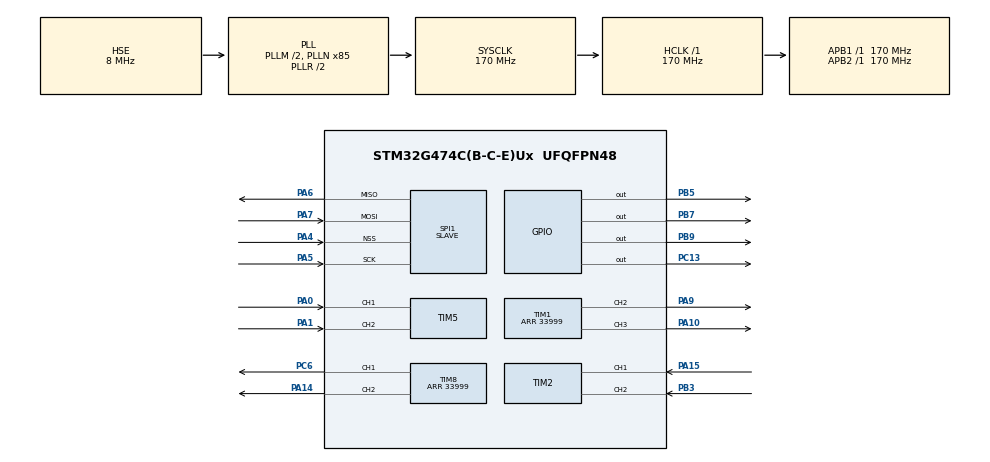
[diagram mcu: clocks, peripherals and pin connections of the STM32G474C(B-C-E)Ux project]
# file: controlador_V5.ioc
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FREERTOS.INCLUDE_vTaskDelayUntil=1
FREERTOS.Tasks01=vControlTask,2,1025,vControlTask_Handler,Default,NULL,Dynamic,NULL,NULL;vTaskLed,0,512,vTaskLed_Handler,Default,NULL,Dynamic,NULL,NULL
FREERTOS.configTOTAL_HEAP_SIZE=8192
FREERTOS.configUSE_NEWLIB_REENTRANT=1
Mcu.Family=STM32G4
Mcu.Name=STM32G474C(B-C-E)Ux
Mcu.Package=UFQFPN48
NVIC.PriorityGroup=NVIC_PRIORITYGROUP_4
NVIC.SPI1_IRQn=true\:5\:0\:false\:false\:true\:true\:true\:true\:true
NVIC.TIM6_DAC_IRQn=true\:15\:0\:false\:false\:true\:false\:false\:true\:true
NVIC.TimeBase=TIM6_DAC_IRQn
NVIC.TimeBaseIP=TIM6
PA0.Signal=S_TIM5_CH1
PA1.Signal=S_TIM5_CH2
PA10.Signal=S_TIM1_CH3
PA14.Signal=S_TIM8_CH2
PA15.Signal=S_TIM2_CH1
PA4.Mode=NSS_Signal_Hard_Input
PA4.Signal=SPI1_NSS
PA5.Mode=Full_Duplex_Slave
PA5.Signal=SPI1_SCK
PA6.Mode=Full_Duplex_Slave
PA6.Signal=SPI1_MISO
PA7.Mode=Full_Duplex_Slave
PA7.Signal=SPI1_MOSI
PA9.Signal=S_TIM1_CH2
PB3.Signal=S_TIM2_CH2
PB5.Signal=GPIO_Output
PB7.Signal=GPIO_Output
PB9.Signal=GPIO_Output
PC13.Signal=GPIO_Output
PC14-OSC32_IN.Mode=LSE-External-Oscillator
PC14-OSC32_IN.Signal=RCC_OSC32_IN
PC15-OSC32_OUT.Mode=LSE-External-Oscillator
PC15-OSC32_OUT.Signal=RCC_OSC32_OUT
PC6.Signal=S_TIM8_CH1
PF0-OSC_IN.Mode=HSE-External-Oscillator
PF0-OSC_IN.Signal=RCC_OSC_IN
PF1-OSC_OUT.Mode=HSE-External-Oscillator
PF1-OSC_OUT.Signal=RCC_OSC_OUT
ProjectManager.HeapSize=0x200
ProjectManager.StackSize=0x400
ProjectManager.TargetToolchain=STM32CubeIDE
RCC.ADC12Freq_Value=170000000
RCC.ADC345Freq_Value=170000000
RCC.AHBFreq_Value=170000000
RCC.APB1Freq_Value=170000000
RCC.APB1TimFreq_Value=170000000
RCC.APB2Freq_Value=170000000
RCC.APB2TimFreq_Value=170000000
RCC.CortexFreq_Value=170000000
RCC.EXTERNAL_CLOCK_VALUE=12288000
RCC.HCLKFreq_Value=170000000
RCC.HSE_VALUE=8000000
RCC.HSI48_VALUE=48000000
RCC.HSI_VALUE=16000000
RCC.PLLM=RCC_PLLM_DIV2
RCC.PLLN=85
RCC.PLLSourceVirtual=RCC_PLLSOURCE_HSE
RCC.SYSCLKFreq_VALUE=170000000
RCC.SYSCLKSource=RCC_SYSCLKSOURCE_PLLCLK
RCC.USBFreq_Value=170000000
RCC.VCOOutputFreq_Value=340000000
SH.S_TIM1_CH2.0=TIM1_CH2,PWM Generation2 CH2
SH.S_TIM1_CH3.0=TIM1_CH3,PWM Generation3 CH3
SH.S_TIM2_CH1.0=TIM2_CH1,Encoder_Interface
SH.S_TIM2_CH2.0=TIM2_CH2,Encoder_Interface
SH.S_TIM5_CH1.0=TIM5_CH1,Encoder_Interface
SH.S_TIM5_CH2.0=TIM5_CH2,Encoder_Interface
SH.S_TIM8_CH1.0=TIM8_CH1,PWM Generation1 CH1
SH.S_TIM8_CH2.0=TIM8_CH2,PWM Generation2 CH2
SPI1.DataSize=SPI_DATASIZE_8BIT
SPI1.Direction=SPI_DIRECTION_2LINES
SPI1.Mode=SPI_MODE_SLAVE
SPI1.VirtualNSS=VM_NSSHARD
SPI1.VirtualType=VM_SLAVE
TIM1.AutoReloadPreload=TIM_AUTORELOAD_PRELOAD_ENABLE
TIM1.Channel-PWM\ Generation2\ CH2=TIM_CHANNEL_2
TIM1.Channel-PWM\ Generation3\ CH3=TIM_CHANNEL_3
TIM1.PeriodNoDither=33999
TIM2.EncoderMode=TIM_ENCODERMODE_TI12
TIM2.IC1Filter=0
TIM2.IC2Filter=0
TIM4.Prescaler=1699
TIM5.EncoderMode=TIM_ENCODERMODE_TI12
TIM5.IC1Filter=0
TIM5.IC2Filter=0
TIM8.AutoReloadPreload=TIM_AUTORELOAD_PRELOAD_ENABLE
TIM8.Channel-PWM\ Generation1\ CH1=TIM_CHANNEL_1
TIM8.Channel-PWM\ Generation2\ CH2=TIM_CHANNEL_2
TIM8.PeriodNoDither=33999
VP_FREERTOS_VS_CMSIS_V1.Mode=CMSIS_V1
VP_SYS_VS_DBSignals.Mode=DisableDeadBatterySignals
VP_SYS_VS_tim6.Mode=TIM6
VP_TIM1_VS_ClockSourceINT.Mode=Internal
VP_TIM4_VS_ClockSourceINT.Mode=Internal
VP_TIM8_VS_ClockSourceINT.Mode=Internal
board=custom

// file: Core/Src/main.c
/* USER CODE BEGIN Header */
/**
  ******************************************************************************
  * @file           : main.c
  * @brief          : Main program body
  ******************************************************************************
  * @attention
  *
  * Copyright (c) 2025 STMicroelectronics.
  * All rights reserved.
  *
  * This software is licensed under terms that can be found in the LICENSE file
  * in the root directory of this software component.
  * If no LICENSE file comes with this software, it is provided AS-IS.
  *
  ******************************************************************************
  */
/* USER CODE END Header */
#include "main.h"
#include "cmsis_os.h"

/* USER CODE BEGIN Includes */
#include <string.h>
#include <math.h>

/* USER CODE END Includes */

/* USER CODE BEGIN PD */
#define r 0.035f
#define L 0.2711f
#define h 0.1f
#define pi 3.1415926f
#define N 18
/* USER CODE END PD */

SPI_HandleTypeDef hspi1;

TIM_HandleTypeDef htim1;
TIM_HandleTypeDef htim2;
TIM_HandleTypeDef htim4;
TIM_HandleTypeDef htim5;
TIM_HandleTypeDef htim8;

osThreadId vControlTaskHandle;
osThreadId vTaskLedHandle;
/* USER CODE BEGIN PV */

// --- FreeRTOS Timing ---
// Period for the main control loop task (2 milliseconds)
const TickType_t periodo = pdMS_TO_TICKS(2); // Convert ms to FreeRTOS ticks

// --- Filter Buffers (Potentially unused if using IIR filter now) ---
float buffer[N+1] = {0};  // Circular buffer for FIR filter input (motor 1?)
float buffer2[N+1] = {0}; // Circular buffer for FIR filter input (motor 2?)

// --- Robot State Variables (Odometry) ---
// These are updated by vControlTask and read by the SPI ISR
float x = 0;   // Robot X position (meters) in global frame
float y = 0;   // Robot Y position (meters) in global frame
float th = 0; // Robot orientation (theta) (radians) in global frame
float xp = 0;  // Robot linear velocity along its own X-axis (m/s)
float yp = 0;  // Robot linear velocity along its own Y-axis (m/s) - Note: often v_x, v_y used

// --- SPI Communication Variables ---
float maxspeed = 0.5f; // Maximum speed/duty cycle limit received from host
float ux = 0; // Desired X velocity command from host (global frame)
float uy = 0; // Desired Y velocity command from host (global frame)
uint8_t tx_data[25]; // SPI transmit buffer (STM32 -> Host: odometry)
uint8_t rx_data[15]; // SPI receive buffer (Host -> STM32: commands)

// --- Motor Control Variables ---
float w1d = 0; // Desired angular velocity for wheel 1 (left?) (rad/s)
float w2d = 0; // Desired angular velocity for wheel 2 (right?) (rad/s)
float u1 = 0;  // Control output (duty cycle / voltage) for motor 1
float u2 = 0;  // Control output (duty cycle / voltage) for motor 2
float iew1 = 0; // Integral error accumulator for PI controller (motor 1)
float iew2 = 0; // Integral error accumulator for PI controller (motor 2)

// --- Intermediate Kinematics/State Variables ---
float th1 = 0; // Current angle of wheel 1 (radians)
float th2 = 0; // Current angle of wheel 2 (radians)
float tha1 = 0; // Previous angle of wheel 1 (radians)
float tha2 = 0; // Previous angle of wheel 2 (radians)
float w1 = 0;  // Calculated raw angular velocity of wheel 1 (rad/s)
float w2 = 0;  // Calculated raw angular velocity of wheel 2 (rad/s)
float w1_fc = 0; // Filtered angular velocity of wheel 1 (rad/s) used for control
float w2_fc = 0; // Filtered angular velocity of wheel 2 (rad/s) used for control
float w1_fca = 0; // Previous filtered velocity for wheel 1 (IIR filter state)
float w2_fca = 0; // Previous filtered velocity for wheel 2 (IIR filter state)
float alpha = 0.1f; // Smoothing factor for the IIR velocity filter (0 < alpha <= 1)
float v = 0;   // Robot linear velocity (m/s)
float w = 0;   // Robot angular velocity (rad/s)
float vd = 0;  // Desired robot linear velocity (m/s) calculated from ux, uy
float wd = 0;  // Desired robot angular velocity (rad/s) calculated from ux, uy

// --- Constants & Control Parameters ---
float Ts = 0.002; // Control loop sample time (seconds) - MUST MATCH 'periodo'!

// --- LED Control Variables ---
float ze = 0.2;  // Threshold for LED state (zero-ish speed)
float ze2 = 0.6; // Threshold for LED state (turning indication?)
uint8_t dato = 0; // Data byte encoding the LED state to send to ESP32

// --- Encoder Raw Data ---
float ae1 = 0; // Wheel 1 angle intermediate (float)
float ae2 = 0; // Wheel 2 angle intermediate (float)
uint32_t e1 = 0; // Raw encoder count for wheel 1 (from TIM2)
uint32_t e2 = 0; // Raw encoder count for wheel 2 (from TIM5)
/* USER CODE END PV */

void SystemClock_Config(void);
static void MX_GPIO_Init(void);
static void MX_SPI1_Init(void);
static void MX_TIM2_Init(void);
static void MX_TIM5_Init(void);
static void MX_TIM4_Init(void);
static void MX_TIM1_Init(void);
static void MX_TIM8_Init(void);
void vControlTask_Handler(void const * argument);
void vTaskLed_Handler(void const * argument);

/* USER CODE BEGIN 0 */

/**
 * @brief Calculates a simple 8-bit checksum (sum of first 4 bytes).
 * @param data Pointer to the start of the 4 data bytes.
 * @retval uint8_t The calculated checksum.
 */
uint8_t add_checksum(uint8_t *data) {
    uint8_t sum = 0;
    // Sum the first 4 bytes
    for (int i = 0; i < 4; i++) {
        sum += data[i];
    }
    // Return the lower 8 bits of the sum
    return sum; // Implicit modulo 256
}

/**
 * @brief SPI1 Transmit/Receive Complete Callback (ISR context).
 * Handles communication with the host computer (e.g., Raspberry Pi).
 * Receives velocity commands (ux, uy, maxspeed) and prepares odometry
 * data (x, y, th, xp, yp) for the next transmission.
 * @param hspi SPI handle.
 */
void HAL_SPI_TxRxCpltCallback(SPI_HandleTypeDef *hspi){
    // This function runs in an Interrupt Service Routine (ISR) context!

    // --- Receive and Process Data from Host ---
    // Verify checksums for the three received float values
    if ((rx_data[4]  == add_checksum(&rx_data[0]))  && // Checksum for ux
        (rx_data[9]  == add_checksum(&rx_data[5]))  && // Checksum for uy
        (rx_data[14] == add_checksum(&rx_data[10]))) { // Checksum for maxspeed

        // Checksums match, copy data into global volatile variables
        // Use memcpy for potentially non-aligned access or type punning safety
        memcpy((void*)&ux,       &rx_data[0],  4); // Copy received ux command
        memcpy((void*)&uy,       &rx_data[5],  4); // Copy received uy command
        memcpy((void*)&maxspeed, &rx_data[10], 4); // Copy received maxspeed limit
    } else {
        // Checksum error detected
        // Set commands to zero as a safety measure
        ux = 0.0f;
        uy = 0.0f;
        // Optionally, set a flag or log the error
    }

    // --- Prepare Data for Next Transmission to Host ---
    // Need to read shared odometry variables (x, y, th, xp, yp) safely.
    UBaseType_t uxSavedInterruptStatus;
	// Enter critical section (ISR-safe version) to prevent race conditions with vControlTask
	uxSavedInterruptStatus = taskENTER_CRITICAL_FROM_ISR();

    // Prepare odometry data packet (5 floats + 5 checksums = 25 bytes)
    memcpy(&tx_data[0],  (void*)&x, 4); // Copy current x position
    tx_data[4]  = add_checksum(&tx_data[0]); // Calculate checksum for x

    memcpy(&tx_data[5],  (void*)&y, 4); // Copy current y position
    tx_data[9]  = add_checksum(&tx_data[5]); // Calculate checksum for y

    memcpy(&tx_data[10], (void*)&xp, 4); // Copy current x velocity (robot frame)
    tx_data[14] = add_checksum(&tx_data[10]); // Calculate checksum for xp

    memcpy(&tx_data[15], (void*)&yp, 4); // Copy current y velocity (robot frame)
    tx_data[19] = add_checksum(&tx_data[15]); // Calculate checksum for yp

    memcpy(&tx_data[20], (void*)&th, 4); // Copy current orientation (theta)
    tx_data[24] = add_checksum(&tx_data[20]); // Calculate checksum for theta

    // Exit critical section, restoring previous interrupt state
    taskEXIT_CRITICAL_FROM_ISR(uxSavedInterruptStatus);

    // --- Re-arm SPI Reception ---
    // Start the next non-blocking SPI transaction (Slave waits for Master)
    // Assumes the Host will initiate the next transfer.
    HAL_SPI_TransmitReceive_IT(&hspi1, tx_data, rx_data, 25);
}

/**
 * @brief Sets the PWM duty cycle for Motor 1 (Left?).
 * Handles direction based on the sign of fduty.
 * Clamps the duty cycle to [-maxspeed, maxspeed].
 * @param fduty Desired duty cycle (-1.0 to 1.0, scaled relative to maxspeed).
 */
void Mi1(float fduty) {
    // Clamp duty cycle based on the dynamic maxspeed received via SPI
	if(fduty >= maxspeed) { fduty = maxspeed; }
	if(fduty <= -maxspeed) { fduty = -maxspeed; }

    // Scale float duty cycle (-maxspeed to +maxspeed) to PWM timer period (0 to 32767?)
    // Assuming Period = 33999, so max duty is roughly half? Check timer config.
    // Let's assume 32767 corresponds to maxspeed.
    // This scaling might need adjustment based on timer Period value.
	fduty = fduty * (32767.0f / maxspeed); // Scale based on maxspeed? Recheck this logic. Usually scales to Period.
    // --> Alternative assuming 33999 is Period for 100% duty:
    // fduty = fduty * 33999.0f;

	int16_t duty = (int16_t)fduty; // Cast scaled duty to integer

    // Set PWM channels based on direction (sign of duty)
    if (duty >= 0) { // Forward direction
        __HAL_TIM_SET_COMPARE(&htim1, TIM_CHANNEL_2, duty); // PWM output on CH2
        __HAL_TIM_SET_COMPARE(&htim1, TIM_CHANNEL_3, 0);    // Direction pin (CH3) low/off
    } else { // Reverse direction
        __HAL_TIM_SET_COMPARE(&htim1, TIM_CHANNEL_2, 0);    // PWM output (CH2) off
        __HAL_TIM_SET_COMPARE(&htim1, TIM_CHANNEL_3, -duty); // Direction pin (CH3) uses PWM magnitude
    }
}

/**
 * @brief Sets the PWM duty cycle for Motor 2 (Right?).
 * Similar logic to Mi1.
 * @param fduty Desired duty cycle (-1.0 to 1.0, scaled relative to maxspeed).
 */
void Md2(float fduty) {
    // Clamp duty cycle
	if(fduty >= maxspeed) { fduty = maxspeed; }
	if(fduty <= -maxspeed) { fduty = -maxspeed; }

    // Scale float duty cycle to PWM timer range (assuming Period = 33999)
    // Check scaling logic as in Mi1.
	fduty = fduty * (32767.0f / maxspeed); // Recheck scaling
    // --> Alternative: fduty = fduty * 33999.0f;

	int16_t duty = (int16_t)fduty;

    // Set PWM channels based on direction
    if (duty >= 0) { // Forward
        __HAL_TIM_SET_COMPARE(&htim8, TIM_CHANNEL_1, duty); // PWM on CH1
        __HAL_TIM_SET_COMPARE(&htim8, TIM_CHANNEL_2, 0);    // Direction CH2 low
    } else { // Reverse
        __HAL_TIM_SET_COMPARE(&htim8, TIM_CHANNEL_1, 0);    // PWM CH1 off
        __HAL_TIM_SET_COMPARE(&htim8, TIM_CHANNEL_2, -duty); // Direction CH2 PWM
    }
}

/**
 * @brief Sends a 4-bit data value ('dato') to specific GPIO pins.
 * Used to signal robot state to the ESP32.
 */
void enviarDato() {
    // Extract individual bits from the global 'dato' byte
    uint8_t bit1 = (dato >> 0) & 1; // Bit 0 -> PB9
    uint8_t bit2 = (dato >> 1) & 1; // Bit 1 -> PB7
    uint8_t bit4 = (dato >> 2) & 1; // Bit 2 -> PB5 (Note: name implies bit 4?)
    uint8_t bit8 = (dato >> 3) & 1; // Bit 3 -> PC13 (Note: name implies bit 8?)

    // Write bit values to the corresponding GPIO pins
    HAL_GPIO_WritePin(GPIOB, GPIO_PIN_9, bit1 ? GPIO_PIN_SET : GPIO_PIN_RESET);
    HAL_GPIO_WritePin(GPIOB, GPIO_PIN_7, bit2 ? GPIO_PIN_SET : GPIO_PIN_RESET);
    HAL_GPIO_WritePin(GPIOB, GPIO_PIN_5, bit4 ? GPIO_PIN_SET : GPIO_PIN_RESET); // Check pin mapping
    HAL_GPIO_WritePin(GPIOC, GPIO_PIN_13, bit8 ? GPIO_PIN_SET : GPIO_PIN_RESET); // Check pin mapping
}

/**
 * @brief Determines the LED state ('dato') based on filtered wheel speeds.
 * Sets the global 'dato' variable which is then sent by enviarDato().
 * @param wi Filtered angular velocity of wheel 1 (left?).
 * @param wd Filtered angular velocity of wheel 2 (right?).
 */
void enviarleds(float wi, float wd){
  // Logic to determine the 4-bit state based on wheel speeds
  if (wi >= -ze && wi <= ze && wd >= -ze && wd <= ze) { // Both wheels stopped or very slow
    dato = 0; // State 0: Stopped
  }
  else if (!(wi >= -ze2 && wi <= ze2 && wd >= -ze2 && wd <= ze2) && (wd >= wi * 1.4f)) { // Turning significantly (Right wheel faster?)
    dato = 6; // State 6: Turning Right? (Check mapping)
  }
  else if (!(wi >= -ze2 && wi <= ze2 && wd >= -ze2 && wd <= ze2) && (wi >= wd * 1.4f)) { // Turning significantly (Left wheel faster?)
    dato = 7; // State 7: Turning Left? (Check mapping)
  }
  else if (wi >= ze && wd >= ze) { // Both moving forward
    dato = 3; // State 3: Moving Forward?
  }
  else if (wi <= -ze && wd <= -ze) { // Both moving backward
    dato = 5; // State 5: Moving Backward?
  }
  // Note: Add cases for pivot turns (wi > 0, wd < 0) etc. if needed

  // Send the determined state to the GPIO pins
  enviarDato();
}

/* USER CODE END 0 */

int main(void)
{

  /* MCU Configuration--------------------------------------------------------*/

  /* Reset of all peripherals, Initializes the Flash interface and the Systick. */
  HAL_Init();

  /* Configure the system clock */
  SystemClock_Config();

  /* Initialize all configured peripherals */
  MX_GPIO_Init();
  MX_SPI1_Init();
  MX_TIM2_Init();
  MX_TIM5_Init();
  MX_TIM4_Init();
  MX_TIM1_Init();
  MX_TIM8_Init();
  /* USER CODE BEGIN 2 */
  HAL_SPI_TransmitReceive_IT(&hspi1, tx_data, rx_data, 25);
  HAL_TIM_Encoder_Start(&htim2, TIM_CHANNEL_ALL);
  HAL_TIM_Encoder_Start(&htim5, TIM_CHANNEL_ALL);
  HAL_TIM_Base_Start(&htim4);
  HAL_TIM_PWM_Start(&htim1, TIM_CHANNEL_2);
  HAL_TIM_PWM_Start(&htim1, TIM_CHANNEL_3);
  HAL_TIM_PWM_Start(&htim8, TIM_CHANNEL_1);
  HAL_TIM_PWM_Start(&htim8, TIM_CHANNEL_2);

  //uint32_t t0_ticks = __HAL_TIM_GET_COUNTER(&htim4);

  /* USER CODE END 2 */

  /* Create the thread(s) */
  /* definition and creation of vControlTask */
  osThreadDef(vControlTask, vControlTask_Handler, osPriorityHigh, 0, 1025);
  vControlTaskHandle = osThreadCreate(osThread(vControlTask), NULL);

  /* definition and creation of vTaskLed */
  osThreadDef(vTaskLed, vTaskLed_Handler, osPriorityNormal, 0, 512);
  vTaskLedHandle = osThreadCreate(osThread(vTaskLed), NULL);

  /* Start scheduler */
  osKernelStart();

  /* We should never get here as control is now taken by the scheduler */

  /* Infinite loop */
  while (1)
  {

  }
}

void SystemClock_Config(void)
{
  RCC_OscInitTypeDef RCC_OscInitStruct = {0};
  RCC_ClkInitTypeDef RCC_ClkInitStruct = {0};

  /** Configure the main internal regulator output voltage
  */
  HAL_PWREx_ControlVoltageScaling(PWR_REGULATOR_VOLTAGE_SCALE1_BOOST);

  /** Initializes the RCC Oscillators according to the specified parameters
  * in the RCC_OscInitTypeDef structure.
  */
  RCC_OscInitStruct.OscillatorType = RCC_OSCILLATORTYPE_HSE;
  RCC_OscInitStruct.HSEState = RCC_HSE_ON;
  RCC_OscInitStruct.PLL.PLLState = RCC_PLL_ON;
  RCC_OscInitStruct.PLL.PLLSource = RCC_PLLSOURCE_HSE;
  RCC_OscInitStruct.PLL.PLLM = RCC_PLLM_DIV2;
  RCC_OscInitStruct.PLL.PLLN = 85;
  RCC_OscInitStruct.PLL.PLLP = RCC_PLLP_DIV2;
  RCC_OscInitStruct.PLL.PLLQ = RCC_PLLQ_DIV2;
  RCC_OscInitStruct.PLL.PLLR = RCC_PLLR_DIV2;
  if (HAL_RCC_OscConfig(&RCC_OscInitStruct) != HAL_OK)
  {
    Error_Handler();
  }

  /** Initializes the CPU, AHB and APB buses clocks
  */
  RCC_ClkInitStruct.ClockType = RCC_CLOCKTYPE_HCLK|RCC_CLOCKTYPE_SYSCLK
                              |RCC_CLOCKTYPE_PCLK1|RCC_CLOCKTYPE_PCLK2;
  RCC_ClkInitStruct.SYSCLKSource = RCC_SYSCLKSOURCE_PLLCLK;
  RCC_ClkInitStruct.AHBCLKDivider = RCC_SYSCLK_DIV1;
  RCC_ClkInitStruct.APB1CLKDivider = RCC_HCLK_DIV1;
  RCC_ClkInitStruct.APB2CLKDivider = RCC_HCLK_DIV1;

  if (HAL_RCC_ClockConfig(&RCC_ClkInitStruct, FLASH_LATENCY_4) != HAL_OK)
  {
    Error_Handler();
  }
}

static void MX_SPI1_Init(void)
{

  /* SPI1 parameter configuration*/
  hspi1.Instance = SPI1;
  hspi1.Init.Mode = SPI_MODE_SLAVE;
  hspi1.Init.Direction = SPI_DIRECTION_2LINES;
  hspi1.Init.DataSize = SPI_DATASIZE_8BIT;
  hspi1.Init.CLKPolarity = SPI_POLARITY_LOW;
  hspi1.Init.CLKPhase = SPI_PHASE_1EDGE;
  hspi1.Init.NSS = SPI_NSS_HARD_INPUT;
  hspi1.Init.FirstBit = SPI_FIRSTBIT_MSB;
  hspi1.Init.TIMode = SPI_TIMODE_DISABLE;
  hspi1.Init.CRCCalculation = SPI_CRCCALCULATION_DISABLE;
  hspi1.Init.CRCPolynomial = 7;
  hspi1.Init.CRCLength = SPI_CRC_LENGTH_DATASIZE;
  hspi1.Init.NSSPMode = SPI_NSS_PULSE_DISABLE;
  if (HAL_SPI_Init(&hspi1) != HAL_OK)
  {
    Error_Handler();
  }

}

static void MX_TIM1_Init(void)
{

  TIM_ClockConfigTypeDef sClockSourceConfig = {0};
  TIM_MasterConfigTypeDef sMasterConfig = {0};
  TIM_OC_InitTypeDef sConfigOC = {0};
  TIM_BreakDeadTimeConfigTypeDef sBreakDeadTimeConfig = {0};

  htim1.Instance = TIM1;
  htim1.Init.Prescaler = 0;
  htim1.Init.CounterMode = TIM_COUNTERMODE_UP;
  htim1.Init.Period = 33999;
  htim1.Init.ClockDivision = TIM_CLOCKDIVISION_DIV1;
  htim1.Init.RepetitionCounter = 0;
  htim1.Init.AutoReloadPreload = TIM_AUTORELOAD_PRELOAD_ENABLE;
  if (HAL_TIM_Base_Init(&htim1) != HAL_OK)
  {
    Error_Handler();
  }
  sClockSourceConfig.ClockSource = TIM_CLOCKSOURCE_INTERNAL;
  if (HAL_TIM_ConfigClockSource(&htim1, &sClockSourceConfig) != HAL_OK)
  {
    Error_Handler();
  }
  if (HAL_TIM_PWM_Init(&htim1) != HAL_OK)
  {
    Error_Handler();
  }
  sMasterConfig.MasterOutputTrigger = TIM_TRGO_RESET;
  sMasterConfig.MasterOutputTrigger2 = TIM_TRGO2_RESET;
  sMasterConfig.MasterSlaveMode = TIM_MASTERSLAVEMODE_DISABLE;
  if (HAL_TIMEx_MasterConfigSynchronization(&htim1, &sMasterConfig) != HAL_OK)
  {
    Error_Handler();
  }
  sConfigOC.OCMode = TIM_OCMODE_PWM1;
  sConfigOC.Pulse = 0;
  sConfigOC.OCPolarity = TIM_OCPOLARITY_HIGH;
  sConfigOC.OCNPolarity = TIM_OCNPOLARITY_HIGH;
  sConfigOC.OCFastMode = TIM_OCFAST_DISABLE;
  sConfigOC.OCIdleState = TIM_OCIDLESTATE_RESET;
  sConfigOC.OCNIdleState = TIM_OCNIDLESTATE_RESET;
  if (HAL_TIM_PWM_ConfigChannel(&htim1, &sConfigOC, TIM_CHANNEL_2) != HAL_OK)
  {
    Error_Handler();
  }
  if (HAL_TIM_PWM_ConfigChannel(&htim1, &sConfigOC, TIM_CHANNEL_3) != HAL_OK)
  {
    Error_Handler();
  }
  sBreakDeadTimeConfig.OffStateRunMode = TIM_OSSR_DISABLE;
  sBreakDeadTimeConfig.OffStateIDLEMode = TIM_OSSI_DISABLE;
  sBreakDeadTimeConfig.LockLevel = TIM_LOCKLEVEL_OFF;
  sBreakDeadTimeConfig.DeadTime = 0;
  sBreakDeadTimeConfig.BreakState = TIM_BREAK_DISABLE;
  sBreakDeadTimeConfig.BreakPolarity = TIM_BREAKPOLARITY_HIGH;
  sBreakDeadTimeConfig.BreakFilter = 0;
  sBreakDeadTimeConfig.BreakAFMode = TIM_BREAK_AFMODE_INPUT;
  sBreakDeadTimeConfig.Break2State = TIM_BREAK2_DISABLE;
  sBreakDeadTimeConfig.Break2Polarity = TIM_BREAK2POLARITY_HIGH;
  sBreakDeadTimeConfig.Break2Filter = 0;
  sBreakDeadTimeConfig.Break2AFMode = TIM_BREAK_AFMODE_INPUT;
  sBreakDeadTimeConfig.AutomaticOutput = TIM_AUTOMATICOUTPUT_DISABLE;
  if (HAL_TIMEx_ConfigBreakDeadTime(&htim1, &sBreakDeadTimeConfig) != HAL_OK)
  {
    Error_Handler();
  }
  HAL_TIM_MspPostInit(&htim1);

}

static void MX_TIM2_Init(void)
{

  TIM_Encoder_InitTypeDef sConfig = {0};
  TIM_MasterConfigTypeDef sMasterConfig = {0};

  htim2.Instance = TIM2;
  htim2.Init.Prescaler = 0;
  htim2.Init.CounterMode = TIM_COUNTERMODE_UP;
  htim2.Init.Period = 4294967295;
  htim2.Init.ClockDivision = TIM_CLOCKDIVISION_DIV1;
  htim2.Init.AutoReloadPreload = TIM_AUTORELOAD_PRELOAD_DISABLE;
  sConfig.EncoderMode = TIM_ENCODERMODE_TI12;
  sConfig.IC1Polarity = TIM_ICPOLARITY_RISING;
  sConfig.IC1Selection = TIM_ICSELECTION_DIRECTTI;
  sConfig.IC1Prescaler = TIM_ICPSC_DIV1;
  sConfig.IC1Filter = 0;
  sConfig.IC2Polarity = TIM_ICPOLARITY_RISING;
  sConfig.IC2Selection = TIM_ICSELECTION_DIRECTTI;
  sConfig.IC2Prescaler = TIM_ICPSC_DIV1;
  sConfig.IC2Filter = 0;
  if (HAL_TIM_Encoder_Init(&htim2, &sConfig) != HAL_OK)
  {
    Error_Handler();
  }
  sMasterConfig.MasterOutputTrigger = TIM_TRGO_RESET;
  sMasterConfig.MasterSlaveMode = TIM_MASTERSLAVEMODE_DISABLE;
  if (HAL_TIMEx_MasterConfigSynchronization(&htim2, &sMasterConfig) != HAL_OK)
  {
    Error_Handler();
  }

}

static void MX_TIM4_Init(void)
{

  TIM_ClockConfigTypeDef sClockSourceConfig = {0};
  TIM_MasterConfigTypeDef sMasterConfig = {0};

  htim4.Instance = TIM4;
  htim4.Init.Prescaler = 1699;
  htim4.Init.CounterMode = TIM_COUNTERMODE_UP;
  htim4.Init.Period = 65535;
  htim4.Init.ClockDivision = TIM_CLOCKDIVISION_DIV1;
  htim4.Init.AutoReloadPreload = TIM_AUTORELOAD_PRELOAD_DISABLE;
  if (HAL_TIM_Base_Init(&htim4) != HAL_OK)
  {
    Error_Handler();
  }
  sClockSourceConfig.ClockSource = TIM_CLOCKSOURCE_INTERNAL;
  if (HAL_TIM_ConfigClockSource(&htim4, &sClockSourceConfig) != HAL_OK)
  {
    Error_Handler();
  }
  sMasterConfig.MasterOutputTrigger = TIM_TRGO_RESET;
  sMasterConfig.MasterSlaveMode = TIM_MASTERSLAVEMODE_DISABLE;
  if (HAL_TIMEx_MasterConfigSynchronization(&htim4, &sMasterConfig) != HAL_OK)
  {
    Error_Handler();
  }

}

static void MX_TIM5_Init(void)
{

  TIM_Encoder_InitTypeDef sConfig = {0};
  TIM_MasterConfigTypeDef sMasterConfig = {0};

  htim5.Instance = TIM5;
  htim5.Init.Prescaler = 0;
  htim5.Init.CounterMode = TIM_COUNTERMODE_UP;
  htim5.Init.Period = 4294967295;
  htim5.Init.ClockDivision = TIM_CLOCKDIVISION_DIV1;
  htim5.Init.AutoReloadPreload = TIM_AUTORELOAD_PRELOAD_DISABLE;
  sConfig.EncoderMode = TIM_ENCODERMODE_TI12;
  sConfig.IC1Polarity = TIM_ICPOLARITY_RISING;
  sConfig.IC1Selection = TIM_ICSELECTION_DIRECTTI;
  sConfig.IC1Prescaler = TIM_ICPSC_DIV1;
  sConfig.IC1Filter = 0;
  sConfig.IC2Polarity = TIM_ICPOLARITY_RISING;
  sConfig.IC2Selection = TIM_ICSELECTION_DIRECTTI;
  sConfig.IC2Prescaler = TIM_ICPSC_DIV1;
  sConfig.IC2Filter = 0;
  if (HAL_TIM_Encoder_Init(&htim5, &sConfig) != HAL_OK)
  {
    Error_Handler();
  }
  sMasterConfig.MasterOutputTrigger = TIM_TRGO_RESET;
  sMasterConfig.MasterSlaveMode = TIM_MASTERSLAVEMODE_DISABLE;
  if (HAL_TIMEx_MasterConfigSynchronization(&htim5, &sMasterConfig) != HAL_OK)
  {
    Error_Handler();
  }

}

static void MX_TIM8_Init(void)
{

  TIM_ClockConfigTypeDef sClockSourceConfig = {0};
  TIM_MasterConfigTypeDef sMasterConfig = {0};
  TIM_OC_InitTypeDef sConfigOC = {0};
  TIM_BreakDeadTimeConfigTypeDef sBreakDeadTimeConfig = {0};

  htim8.Instance = TIM8;
  htim8.Init.Prescaler = 0;
  htim8.Init.CounterMode = TIM_COUNTERMODE_UP;
  htim8.Init.Period = 33999;
  htim8.Init.ClockDivision = TIM_CLOCKDIVISION_DIV1;
  htim8.Init.RepetitionCounter = 0;
  htim8.Init.AutoReloadPreload = TIM_AUTORELOAD_PRELOAD_ENABLE;
  if (HAL_TIM_Base_Init(&htim8) != HAL_OK)
  {
    Error_Handler();
  }
  sClockSourceConfig.ClockSource = TIM_CLOCKSOURCE_INTERNAL;
  if (HAL_TIM_ConfigClockSource(&htim8, &sClockSourceConfig) != HAL_OK)
  {
    Error_Handler();
  }
  if (HAL_TIM_PWM_Init(&htim8) != HAL_OK)
  {
    Error_Handler();
  }
  sMasterConfig.MasterOutputTrigger = TIM_TRGO_RESET;
  sMasterConfig.MasterOutputTrigger2 = TIM_TRGO2_RESET;
  sMasterConfig.MasterSlaveMode = TIM_MASTERSLAVEMODE_DISABLE;
  if (HAL_TIMEx_MasterConfigSynchronization(&htim8, &sMasterConfig) != HAL_OK)
  {
    Error_Handler();
  }
  sConfigOC.OCMode = TIM_OCMODE_PWM1;
  sConfigOC.Pulse = 0;
  sConfigOC.OCPolarity = TIM_OCPOLARITY_HIGH;
  sConfigOC.OCNPolarity = TIM_OCNPOLARITY_HIGH;
  sConfigOC.OCFastMode = TIM_OCFAST_DISABLE;
  sConfigOC.OCIdleState = TIM_OCIDLESTATE_RESET;
  sConfigOC.OCNIdleState = TIM_OCNIDLESTATE_RESET;
  if (HAL_TIM_PWM_ConfigChannel(&htim8, &sConfigOC, TIM_CHANNEL_1) != HAL_OK)
  {
    Error_Handler();
  }
  if (HAL_TIM_PWM_ConfigChannel(&htim8, &sConfigOC, TIM_CHANNEL_2) != HAL_OK)
  {
    Error_Handler();
  }
  sBreakDeadTimeConfig.OffStateRunMode = TIM_OSSR_DISABLE;
  sBreakDeadTimeConfig.OffStateIDLEMode = TIM_OSSI_DISABLE;
  sBreakDeadTimeConfig.LockLevel = TIM_LOCKLEVEL_OFF;
  sBreakDeadTimeConfig.DeadTime = 0;
  sBreakDeadTimeConfig.BreakState = TIM_BREAK_DISABLE;
  sBreakDeadTimeConfig.BreakPolarity = TIM_BREAKPOLARITY_HIGH;
  sBreakDeadTimeConfig.BreakFilter = 0;
  sBreakDeadTimeConfig.BreakAFMode = TIM_BREAK_AFMODE_INPUT;
  sBreakDeadTimeConfig.Break2State = TIM_BREAK2_DISABLE;
  sBreakDeadTimeConfig.Break2Polarity = TIM_BREAK2POLARITY_HIGH;
  sBreakDeadTimeConfig.Break2Filter = 0;
  sBreakDeadTimeConfig.Break2AFMode = TIM_BREAK_AFMODE_INPUT;
  sBreakDeadTimeConfig.AutomaticOutput = TIM_AUTOMATICOUTPUT_DISABLE;
  if (HAL_TIMEx_ConfigBreakDeadTime(&htim8, &sBreakDeadTimeConfig) != HAL_OK)
  {
    Error_Handler();
  }
  HAL_TIM_MspPostInit(&htim8);

}

static void MX_GPIO_Init(void)
{
  GPIO_InitTypeDef GPIO_InitStruct = {0};

  /* GPIO Ports Clock Enable */
  __HAL_RCC_GPIOC_CLK_ENABLE();
  __HAL_RCC_GPIOF_CLK_ENABLE();
  __HAL_RCC_GPIOA_CLK_ENABLE();
  __HAL_RCC_GPIOB_CLK_ENABLE();

  /*Configure GPIO pin Output Level */
  HAL_GPIO_WritePin(GPIOC, GPIO_PIN_13, GPIO_PIN_RESET);

  /*Configure GPIO pin Output Level */
  HAL_GPIO_WritePin(GPIOB, GPIO_PIN_5|GPIO_PIN_7|GPIO_PIN_9, GPIO_PIN_RESET);

  /*Configure GPIO pin : PC13 */
  GPIO_InitStruct.Pin = GPIO_PIN_13;
  GPIO_InitStruct.Mode = GPIO_MODE_OUTPUT_PP;
  GPIO_InitStruct.Pull = GPIO_NOPULL;
  GPIO_InitStruct.Speed = GPIO_SPEED_FREQ_LOW;
  HAL_GPIO_Init(GPIOC, &GPIO_InitStruct);

  /*Configure GPIO pins : PB5 PB7 PB9 */
  GPIO_InitStruct.Pin = GPIO_PIN_5|GPIO_PIN_7|GPIO_PIN_9;
  GPIO_InitStruct.Mode = GPIO_MODE_OUTPUT_PP;
  GPIO_InitStruct.Pull = GPIO_NOPULL;
  GPIO_InitStruct.Speed = GPIO_SPEED_FREQ_LOW;
  HAL_GPIO_Init(GPIOB, &GPIO_InitStruct);

}

/* USER CODE BEGIN Header_vControlTask_Handler */
/**
  * @brief Function implementing the vControlTask thread (High Priority).
  * This is the main real-time control loop running every 2ms.
  * It reads encoders, calculates velocities, filters noise,
  * updates odometry, calculates PI control output, and drives motors.
  * @param argument: Not used
  * @retval None
  */
/* USER CODE END Header_vControlTask_Handler */
void vControlTask_Handler(void const * argument)
{
  /* USER CODE BEGIN 5 */
  // Variable to store the last wake time for periodic execution
  TickType_t tick_time;
  // Initialize tick_time with the current time ONCE before the loop
  tick_time = xTaskGetTickCount();

  /* Infinite loop */
  for(;;) // This loop runs forever, managed by FreeRTOS
  {
        // --- 1. Read Encoders ---
        // Get raw 32-bit counter values from encoder timers
		e1 = __HAL_TIM_GET_COUNTER(&htim2); // Left wheel encoder?
		e2 = __HAL_TIM_GET_COUNTER(&htim5); // Right wheel encoder?
        // Cast to signed float for calculations
		ae1 = (float)(int32_t)e1;
		ae2 = (float)(int32_t)e2;
        // Convert raw counts to angle in radians
        // Formula: (counts * 2*pi) / (counts_per_revolution_motor * gear_ratio * pulses_per_revolution_encoder_mode)
        // Check your encoder specs and gear ratio. 4.0*332.0*27.0 seems large.
        // Assuming: 4x encoding, 332 PPR encoder?, 27:1 gearbox? -> 35856 counts/rev
		th1 = (ae1 * 2.0f * pi) / (4.0f * 332.0f * 27.0f); // Wheel 1 angle (rad)
		th2 = (ae2 * 2.0f * pi) / (4.0f * 332.0f * 27.0f); // Wheel 2 angle (rad)

        // --- 2. Calculate Raw Wheel Velocities ---
        // Velocity = (current_angle - previous_angle) / sample_time
		w1 = (th1 - tha1) / Ts; // Wheel 1 raw angular velocity (rad/s)
		w2 = (th2 - tha2) / Ts; // Wheel 2 raw angular velocity (rad/s)

        // --- 3. Spike Rejection ---
        // Limit impossibly high velocities caused by noise or encoder glitches
		const float MAX_REALISTIC_W = 15.0f; // Define a max plausible velocity (rad/s)

		if (w1 > MAX_REALISTIC_W) {
			w1 = w1_fca; // If spike detected, use previous filtered value instead
		} else if (w1 < -MAX_REALISTIC_W) {
			w1 = w1_fca;
		}
		if (w2 > MAX_REALISTIC_W) {
			w2 = w2_fca; // Use previous filtered value
		} else if (w2 < -MAX_REALISTIC_W) {
			w2 = w2_fca;
		}

        // --- 4. Filter Velocities (IIR Low Pass Filter) ---
        // Smooth out noise from differentiation using exponential moving average
        // w_filtered_new = alpha * w_raw_new + (1 - alpha) * w_filtered_old
		w1_fc = (alpha * w1) + (1.0f - alpha) * w1_fca; // Filtered velocity wheel 1
		w2_fc = (alpha * w2) + (1.0f - alpha) * w2_fca; // Filtered velocity wheel 2

        // --- 5. Update Previous State Variables (IMPORTANT!) ---
        // Store current values to be used as 'previous' in the next iteration
		tha1 = th1;     // Update previous angle for wheel 1
		tha2 = th2;     // Update previous angle for wheel 2
		w1_fca = w1_fc; // Update previous filtered velocity for wheel 1
		w2_fca = w2_fc; // Update previous filtered velocity for wheel 2

        // --- 6. Calculate Odometry (Robot Pose Update) ---
        // Forward Kinematics: Calculate robot's linear and angular velocity from wheel speeds
		v = (w1_fc + w2_fc) * r / 2.0f; // Use filtered velocities for odometry? (Or raw w1, w2?) - Using filtered here.
		w = (w2_fc - w1_fc) * r / L;   // Robot angular velocity (rad/s)

        // Calculate change in angle over the sample time
		float dth = w * Ts;

        // Integrate angle (theta) - Protect shared variable 'th'
		if (isfinite(dth) && (w < 13.0f) && (w > -13.0f)) { // Check for valid values and limits
		  taskENTER_CRITICAL(); // --- Start Critical Section ---
		  th += dth;            // Update global theta
		  taskEXIT_CRITICAL();  // --- End Critical Section ---
          // Normalize theta to [-pi, pi] if needed
          // if (th > pi) th -= 2.0f*pi;
          // else if (th < -pi) th += 2.0f*pi;
		}

        // Calculate robot velocity components in the ROBOT's frame (xp, yp)
        // Accounts for offset 'h' if it represents distance to control point
		xp = v * cosf(th) - h * sinf(th) * w; // Velocity along robot's x-axis
		yp = v * sinf(th) + h * cosf(th) * w; // Velocity along robot's y-axis

        // Calculate change in position (dx, dy) in global frame
		float dx = xp * Ts;
		float dy = yp * Ts;

        // Integrate position (x, y) - Protect shared variables 'x' and 'y'
        // Enter critical section ONCE for both x and y update
		taskENTER_CRITICAL(); // --- Start Critical Section ---
		if ((isfinite(dx)) && (xp < 1.5f) && (xp > -1.5f)) { // Check validity and limits
		    x += dx; // Update global x
		}
		if ((isfinite(dy)) && (yp < 1.5f) && (yp > -1.5f)) { // Check validity and limits
		    y += dy; // Update global y
		}
		taskEXIT_CRITICAL();  // --- End Critical Section ---

        // --- 7. Calculate Desired Wheel Velocities (Inverse Kinematics) ---
        // Convert desired global velocities (ux, uy) received from host
        // into desired robot frame velocities (vd, wd).
		vd = ux * cosf(th) + uy * sinf(th);           // Desired linear velocity (robot frame)
		wd = (-ux * sinf(th) + uy * cosf(th)) / h;   // Desired angular velocity (using offset 'h') - Check formula if h=0

        // Convert desired robot velocities (vd, wd) into desired wheel velocities (w1d, w2d)
		w2d = vd / r + wd * L / (2.0f * r); // Desired velocity for wheel 2 (right?)
		w1d = vd / r - wd * L / (2.0f * r); // Desired velocity for wheel 1 (left?)

        // --- 8. PI Control Calculation ---
        // Calculate error between filtered measured speed and desired speed
        // Update integral term (with anti-windup) and calculate PI output
        const float MAX_INTEGRATOR = 1.0f; // Anti-windup limit (tune this value)

        // PI Controller for Wheel 2 (Right?)
		iew2 = iew2 + (w2_fc - w2d) * Ts; // Accumulate integral error
        // Anti-Windup: Clamp integrator term
		if (iew2 > MAX_INTEGRATOR) iew2 = MAX_INTEGRATOR;
		else if (iew2 < -MAX_INTEGRATOR) iew2 = -MAX_INTEGRATOR;
        // Calculate PI output: u = Kp * error + Ki * integral_error
		u2 = -0.07f * (w2_fc - w2d) - 0.2f * iew2; // Kp = -0.07, Ki = -0.2 (Check signs)

        // PI Controller for Wheel 1 (Left?)
		iew1 = iew1 + (w1_fc - w1d) * Ts; // Accumulate integral error
        // Anti-Windup: Clamp integrator term
		if (iew1 > MAX_INTEGRATOR) iew1 = MAX_INTEGRATOR;
		else if (iew1 < -MAX_INTEGRATOR) iew1 = -MAX_INTEGRATOR;
        // Calculate PI output
		u1 = -0.07f * (w1_fc - w1d) - 0.2f * iew1; // Kp = -0.07, Ki = -0.2 (Check signs)

        // --- 9. Apply Control Output to Motors ---
		Md2(u2); // Set PWM for motor 2 (Right?)
		Mi1(u1); // Set PWM for motor 1 (Left?)

        // --- 10. Wait for Next Cycle ---
        // Delay execution until the next 2ms interval using vTaskDelayUntil
        // This ensures the loop runs at a consistent frequency (500Hz).
		vTaskDelayUntil(&tick_time, periodo);
	}

  /* USER CODE END 5 */
}

/* USER CODE BEGIN Header_vTaskLed_Handler */
/**
* @brief Function implementing the vTaskLed thread (Normal Priority).
* Runs periodically (every 100ms) to update the LED status
* based on the robot's current filtered wheel speeds.
* @param argument: Not used
* @retval None
*/
/* USER CODE END Header_vTaskLed_Handler */
void vTaskLed_Handler(void const * argument)
{
  /* USER CODE BEGIN vTaskLed_Handler */
    /* Infinite loop */
	for (;;)
	{
		// Determine the LED state based on current filtered wheel speeds (w1_fc, w2_fc)
        // Note: Reads w1_fc, w2_fc which are written by vControlTask.
        // If high precision is not needed, direct read is okay due to lower priority.
        // For strict safety, a mutex or queue could be used.
		enviarleds(w1_fc, w2_fc);

		// Delay this task for 100ms
        // Uses vTaskDelay, which sleeps for *at least* 100ms from NOW.
		vTaskDelay(pdMS_TO_TICKS(100));
	}
  /* USER CODE END vTaskLed_Handler */
}

void HAL_TIM_PeriodElapsedCallback(TIM_HandleTypeDef *htim)
{
  if (htim->Instance == TIM6)
  {
    HAL_IncTick();
  }
}

void Error_Handler(void)
{
  __disable_irq();
  while (1)
  {
  }
}
